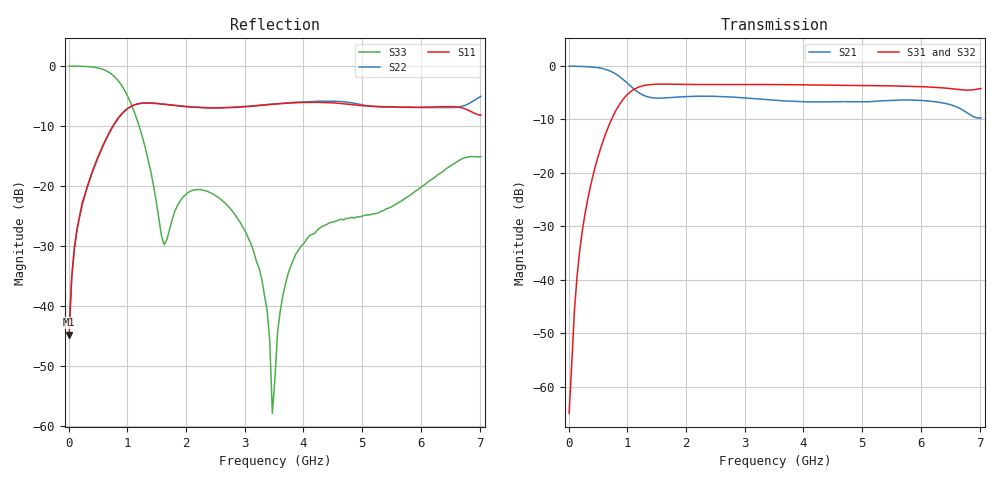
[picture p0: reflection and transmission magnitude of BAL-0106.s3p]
! MARKI MICROWAVE INC.
! Email:  info@markimicrowave.com  Phone:  408-778-4200
! Model Number:  BAL-0106  Date:  11/13
! Filename:		BAL-0106.S3P  Version: 1.0
! Description:  3-port S-parameter data for Balun BAL-0106
! Frequency Range: 	10 MHz to 7 GHz
! Port Configuration:	PORT 1: OUTPUT (0 DEGREE), PORT 2: OUTPUT (180 DEGREE), PORT 3: COMMON
! S3P File: Measurements: Mag<S11> Ang<S11> Mag<S12> Ang<S12> Mag<S13> Ang<S13>! row 1
!  Mag<S21> Ang<S21> Mag<S22> Ang<S22> Mag<S23> Ang<S23>! row 2
!  Mag<S31> Ang<S31> Mag<S32> Ang<S32> Mag<S33> Ang<S33>! row 3
# Hz S  dB  R 50
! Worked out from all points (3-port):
!   157 points, 10 MHz to 7.022 GHz, reference 50 ohm
!   strongest paths, dB at 10 MHz, 1.763 GHz, 3.516 GHz, 5.269 GHz, 7.022 GHz:
!     S31: -65.0, -3.4, -3.5, -3.7, -4.2
!     S32: -69.5, -3.3, -3.5, -3.7, -5.7
!     S21: 0.0, -5.9, -6.4, -6.6, -9.7
!   lowest |S11| = -44.7 dB at 10 MHz (marker M1), VSWR 1.01, Z = 50.2 + j0.552 ohm
!   |S11| at or under -10 dB: start of sweep to 754.9 MHz
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1e7  -44.74 71.6  -0.00 -1.4  -60.32 -98.0
     -0.02 -1.5  -43.50 72.5  -69.13 -149.1
     -65.00 53.2  -69.51 -129.3  0.00 -1.9
2.3475e8  -22.72 57.9  -0.07 -28.8  -30.85 -35.7
          -0.07 -28.8  -23.18 56.0  -30.78 138.1
          -30.88 -35.7  -30.79 138.4  -0.03 -44.1
8.191e8  -9.02 -31.6  -1.58 -105.3  -8.07 -151.4
         -1.58 -105.2  -9.10 -33.5  -8.02 27.4
         -8.09 -151.4  -8.02 27.4  -2.11 -172.3
1.3585e9  -6.15 -128.3  -5.79 -150.6  -3.50 94.8
          -5.78 -150.7  -6.12 -128.9  -3.43 -85.5
          -3.50 94.8  -3.44 -85.4  -15.72 51.3
1.9878e9  -6.75 155.5  -5.73 163.2  -3.42 -1.7
          -5.73 163.2  -6.69 156.5  -3.35 178.7
          -3.43 -1.7  -3.36 178.7  -21.47 149.6
2.707e9  -6.92 90.4  -5.76 97.1  -3.46 -94.9
         -5.75 97.1  -6.89 92.6  -3.42 85.8
         -3.46 -94.9  -3.42 85.8  -23.23 26.9
3.5161e9  -6.33 23.5  -6.40 23.2  -3.46 165.7
          -6.39 23.2  -6.28 25.5  -3.47 -13.3
          -3.47 165.7  -3.49 -13.2  -51.98 93.6
4.8646e9  -6.45 -92.2  -6.69 -96.7  -3.63 5.1
          -6.68 -96.7  -6.17 -93.8  -3.63 -174.6
          -3.64 5.1  -3.65 -174.6  -25.32 -147.5
5.7636e9  -6.85 -166.8  -6.36 178.9  -3.77 -101.9
          -6.35 178.9  -6.88 -166.6  -3.93 76.7
          -3.77 -101.9  -3.94 76.7  -21.83 48.3
7.0222e9  -8.17 75.4  -9.72 63.4  -4.20 107.1
          -9.72 63.4  -5.03 83.7  -5.71 -85.5
          -4.20 107.1  -5.71 -85.5  -15.07 -120.6
